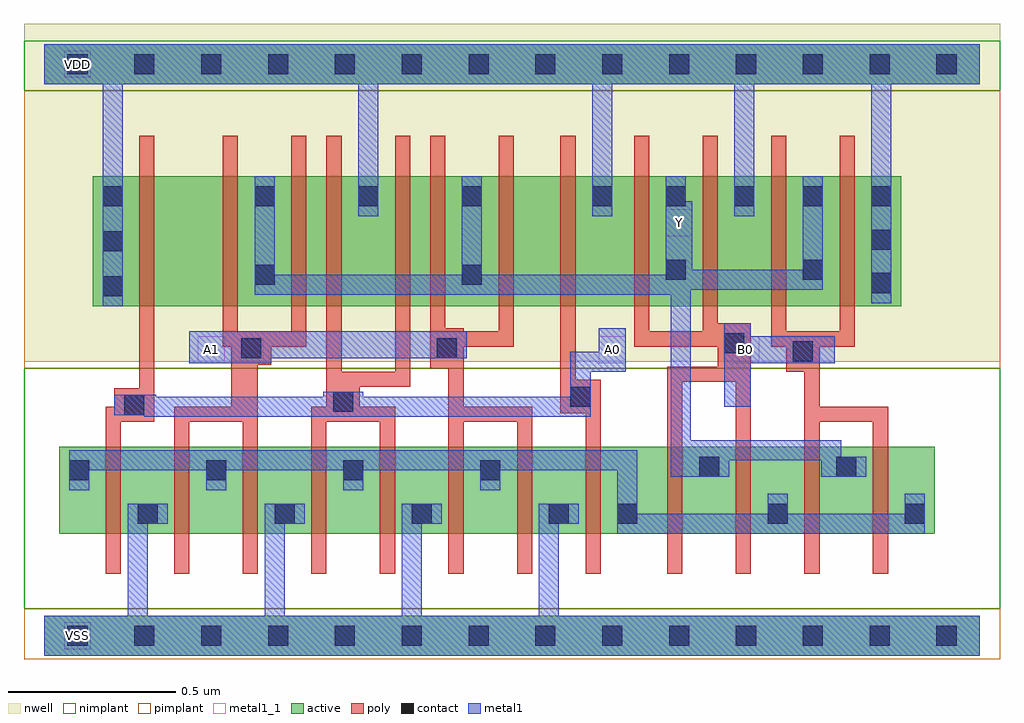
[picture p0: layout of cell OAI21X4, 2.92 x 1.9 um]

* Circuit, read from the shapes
.subckt OAI21X4 A0 A1 B0 VDD VSS Y
M1 VSS A0 n1 VSS nfet w=0.26u l=0.045u m=4
M2 n1 A1 VSS VSS nfet w=0.26u l=0.045u m=4
M3 Y B0 n1 VSS nfet w=0.26u l=0.045u m=4
M4 n2 A0 VDD VDD pfet w=0.39u l=0.045u
M5 Y A1 n2 VDD pfet w=0.39u l=0.045u
M6 n3 A1 Y VDD pfet w=0.39u l=0.045u
M7 VDD A0 n3 VDD pfet w=0.39u l=0.045u
M8 n4 A0 VDD VDD pfet w=0.39u l=0.045u
M9 Y A1 n4 VDD pfet w=0.39u l=0.045u
M10 n5 A1 Y VDD pfet w=0.39u l=0.045u
M11 VDD A0 n5 VDD pfet w=0.39u l=0.045u
M12 Y B0 VDD VDD pfet w=0.39u l=0.045u m=4
.ends

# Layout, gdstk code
import gdstk
lib = gdstk.Library(unit=1e-6, precision=5e-10)
def R(c, l, rs):  # rectangles x0, y0, x1, y1
    for r in rs: c.add(gdstk.rectangle(r[:2], r[2:], *l))
def A(c, l, x, y, w, h, nx, ny, dx, dy):  # array of equal rectangles
    R(c, l, [(x+i*dx, y+j*dy, x+i*dx+w, y+j*dy+h) for i in range(nx) for j in range(ny)])
def P(c, l, *ps):  # polygons
    for p in ps: c.add(gdstk.Polygon(p, *l))
active = (1, 0)
nwell = (2, 0)
poly = (3, 0)
nimplant = (4, 0)
pimplant = (5, 0)
contact = (6, 0)
metal1 = (7, 0)
metal1_1 = (7, 1)

oai21x4 = lib.new_cell('OAI21X4')
R(oai21x4, active, [(0,-0.06,2.8,0.06), (0.045,0.305,2.665,0.565), (0.145,0.985,2.565,1.375), (0,1.65,2.8,1.77)])
R(oai21x4, nwell, [(-0.06,0.82,2.86,1.83)])
P(oai21x4, poly, [(0.285,1.495),(0.33,1.495),(0.33,0.64),(0.23,0.64),(0.23,0.185),(0.185,0.185),(0.185,0.685),(0.21,0.685),(0.21,0.74),(0.285,0.74)],
  [(0.535,1.495),(0.58,1.495),(0.58,0.91),(0.74,0.91),(0.74,1.495),(0.785,1.495),(0.785,0.865),(0.68,0.865),(0.68,0.81),(0.64,0.81),(0.64,0.185),(0.595,0.185),(0.595,0.64),(0.435,0.64),(0.435,0.185),(0.39,0.185),(0.39,0.685),(0.56,0.685),(0.56,0.865),(0.535,0.865)],
  [(0.845,1.495),(0.89,1.495),(0.89,0.79),(1.05,0.79),(1.05,1.495),(1.095,1.495),(1.095,0.745),(0.945,0.745),(0.945,0.685),(1.05,0.685),(1.05,0.185),(1.005,0.185),(1.005,0.64),(0.845,0.64),(0.845,0.185),(0.8,0.185),(0.8,0.685),(0.845,0.685)],
  [(1.155,1.495),(1.2,1.495),(1.2,0.92),(1.255,0.92),(1.255,0.91),(1.36,0.91),(1.36,1.495),(1.405,1.495),(1.405,0.865),(1.255,0.865),(1.255,0.685),(1.46,0.685),(1.46,0.185),(1.415,0.185),(1.415,0.64),(1.255,0.64),(1.255,0.185),(1.21,0.185),(1.21,0.8),(1.155,0.8)],
  [(1.545,1.495),(1.59,1.495),(1.59,0.765),(1.665,0.765),(1.665,0.185),(1.62,0.185),(1.62,0.665),(1.545,0.665)],
  [(1.765,1.495),(1.81,1.495),(1.81,0.91),(1.97,0.91),(1.97,1.495),(2.015,1.495),(2.015,0.935),(2.115,0.935),(2.115,0.185),(2.07,0.185),(2.07,0.76),(1.91,0.76),(1.91,0.185),(1.865,0.185),(1.865,0.805),(2.015,0.805),(2.015,0.865),(1.765,0.865)],
  [(2.175,1.495),(2.22,1.495),(2.22,0.91),(2.38,0.91),(2.38,1.495),(2.425,1.495),(2.425,0.865),(2.32,0.865),(2.32,0.685),(2.525,0.685),(2.525,0.185),(2.48,0.185),(2.48,0.64),(2.32,0.64),(2.32,0.185),(2.275,0.185),(2.275,0.79),(2.22,0.79),(2.22,0.865),(2.175,0.865)])
R(oai21x4, nimplant, [(-0.06,0.08,2.86,0.8), (-0.06,1.63,2.86,1.78)])
R(oai21x4, pimplant, [(-0.06,-0.07,2.86,0.08), (-0.06,0.8,2.86,1.63)])
A(oai21x4, contact, 0.07, -0.03, 0.06, 0.06, 14, 2, 0.2, 1.71)
A(oai21x4, contact, 0.28, 0.335, 0.06, 0.06, 4, 1, 0.41, 0)
A(oai21x4, contact, 0.075, 0.465, 0.06, 0.06, 4, 1, 0.41, 0)
A(oai21x4, contact, 0.175, 1.015, 0.06, 0.06, 1, 3, 0, 0.135)
A(oai21x4, contact, 0.63, 1.285, 0.06, 0.06, 3, 1, 0.31, 0)
A(oai21x4, contact, 1.86, 1.285, 0.06, 0.06, 4, 1, 0.205, 0)
R(oai21x4, contact, [(1.715,0.335,1.775,0.395), (2.165,0.335,2.225,0.395), (2.575,0.335,2.635,0.395), (1.96,0.475,2.02,0.535), (2.37,0.475,2.43,0.535), (0.24,0.66,0.3,0.72), (0.865,0.67,0.925,0.73), (1.575,0.685,1.635,0.745), (2.24,0.82,2.3,0.88), (0.59,0.83,0.65,0.89), (1.175,0.83,1.235,0.89), (2.035,0.845,2.095,0.905), (2.475,1.025,2.535,1.085), (0.63,1.05,0.69,1.11), (1.25,1.05,1.31,1.11), (1.86,1.065,1.92,1.125), (2.27,1.065,2.33,1.125), (2.475,1.155,2.535,1.215), (1.64,1.285,1.7,1.345)])
P(oai21x4, metal1, [(0,1.77),(2.8,1.77),(2.8,1.65),(2.535,1.65),(2.535,0.995),(2.475,0.995),(2.475,1.65),(2.125,1.65),(2.125,1.255),(2.065,1.255),(2.065,1.65),(1.7,1.65),(1.7,1.255),(1.64,1.255),(1.64,1.65),(1,1.65),(1,1.255),(0.94,1.255),(0.94,1.65),(0.235,1.65),(0.235,0.985),(0.175,0.985),(0.175,1.65),(0,1.65)],
  [(0.63,1.375),(0.69,1.375),(0.69,1.08),(1.25,1.08),(1.25,1.375),(1.31,1.375),(1.31,1.08),(1.86,1.08),(1.86,1.375),(1.92,1.375),(1.92,1.3),(1.94,1.3),(1.94,1.095),(2.27,1.095),(2.27,1.375),(2.33,1.375),(2.33,1.035),(1.935,1.035),(1.935,0.585),(2.385,0.585),(2.385,0.535),(2.46,0.535),(2.46,0.475),(2.325,0.475),(2.325,0.525),(2.05,0.525),(2.05,0.475),(1.875,0.475),(1.875,1.02),(0.63,1.02)],
  [(0.435,0.91),(1.265,0.91),(1.265,0.83),(0.68,0.83),(0.68,0.815),(0.435,0.815)],
  [(1.66,0.92),(1.74,0.92),(1.74,0.79),(1.635,0.79),(1.635,0.655),(0.3,0.655),(0.3,0.66),(0.21,0.66),(0.21,0.72),(0.335,0.72),(0.335,0.715),(0.835,0.715),(0.835,0.73),(0.955,0.73),(0.955,0.715),(1.575,0.715),(1.575,0.85),(1.66,0.85)],
  [(2.035,0.935),(2.115,0.935),(2.115,0.895),(2.365,0.895),(2.365,0.815),(2.115,0.815),(2.115,0.685),(2.035,0.685)],
  [(0.075,0.555),(1.775,0.555),(1.775,0.365),(2.165,0.365),(2.165,0.425),(2.225,0.425),(2.225,0.365),(2.575,0.365),(2.575,0.425),(2.635,0.425),(2.635,0.305),(1.715,0.305),(1.715,0.495),(1.365,0.495),(1.365,0.435),(1.305,0.435),(1.305,0.495),(0.955,0.495),(0.955,0.435),(0.895,0.435),(0.895,0.495),(0.545,0.495),(0.545,0.435),(0.485,0.435),(0.485,0.495),(0.135,0.495),(0.135,0.435),(0.075,0.435)],
  [(0.25,0.395),(0.37,0.395),(0.37,0.335),(0.31,0.335),(0.31,0.06),(0.66,0.06),(0.66,0.395),(0.78,0.395),(0.78,0.335),(0.72,0.335),(0.72,0.06),(1.07,0.06),(1.07,0.395),(1.19,0.395),(1.19,0.335),(1.13,0.335),(1.13,0.06),(1.48,0.06),(1.48,0.395),(1.6,0.395),(1.6,0.335),(1.54,0.335),(1.54,0.06),(2.8,0.06),(2.8,-0.06),(0,-0.06),(0,0.06),(0.25,0.06)])
R(oai21x4, metal1_1, [(0.06,-0.04,0.14,0.04), (0.46,0.815,0.54,0.895), (1.66,0.815,1.74,0.895), (2.06,0.815,2.14,0.895), (1.86,1.195,1.94,1.275), (0.06,1.67,0.14,1.75)])
oai21x4.add(gdstk.Label('Y', (1.9,1.235), layer=7, texttype=1))
oai21x4.add(gdstk.Label('A1', (0.5,0.855), layer=7, texttype=1))
oai21x4.add(gdstk.Label('A0', (1.7,0.855), layer=7, texttype=1))
oai21x4.add(gdstk.Label('B0', (2.1,0.855), layer=7, texttype=1))
oai21x4.add(gdstk.Label('VDD', (0.1,1.71), layer=7, texttype=1))
oai21x4.add(gdstk.Label('VSS', (0.1,0), layer=7, texttype=1))
oai21x4.add(gdstk.Label('OAI21X4', (0,0), layer=63, texttype=0))

lib.write_gds('OAI21X4.gds')
